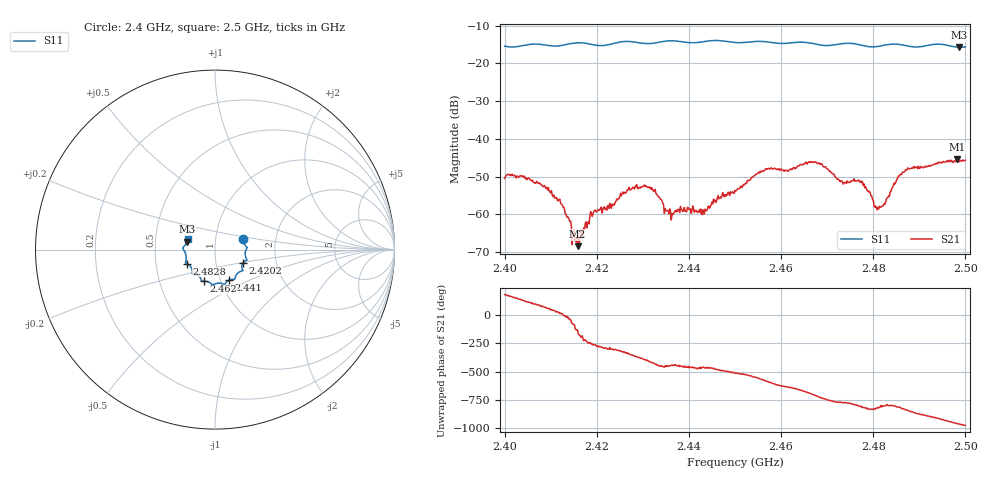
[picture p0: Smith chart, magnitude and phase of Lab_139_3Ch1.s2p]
# Hz S RI R 50
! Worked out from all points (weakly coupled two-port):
!   601 points, 2.4 GHz to 2.5 GHz, reference 50 ohm
!   highest |S21| = -45.43 dB at 2.4982 GHz (marker M1); lowest = -68.5 dB at 2.4158 GHz (marker M2)
!   lowest |S11| = -15.8 dB at 2.4987 GHz (marker M3), VSWR 1.39, Z = 36.3 + j3.25 ohm
!   |S11| at or under -10 dB: start of sweep to end of sweep
!   S12 and S22 are empty: the file has one direction only
!   S11 on the Smith chart (normalised r, x): 2.4 GHz: 1.36, +0.17; 2.4202 GHz: 1.36, -0.20; 2.441 GHz: 1.10, -0.39; 2.462 GHz: 0.83, -0.30; 2.4828 GHz: 0.72, -0.12; 2.5 GHz: 0.73, +0.09
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2.4e9  0.1571 0.0606  -0.00298 2.4e-05  0 0  0 0
2.409167e9  0.1736 0.000173  0.00119 0.00193  0 0  0 0
2.412333e9  0.1692 -0.0334  0.00133 0.000277  0 0  0 0
2.415833e9  0.1783 -0.0579  -0.000257 -0.000276  0 0  0 0
2.416667e9  0.1775 -0.0592  -0.00059 0.000184  0 0  0 0
2.420167e9  0.157 -0.0721  6.61e-05 0.00114  0 0  0 0
2.428167e9  0.1505 -0.1185  0.00216 8.49e-06  0 0  0 0
2.433333e9  0.1129 -0.1521  8.49e-05 -0.00172  0 0  0 0
2.436167e9  0.1097 -0.166  0.0001 -0.000833  0 0  0 0
2.441e9  0.0772 -0.1703  -0.000336 -0.00115  0 0  0 0
2.45e9  0.0272 -0.1868  -0.00184 -0.00097  0 0  0 0
2.456833e9  -0.0183 -0.192  -0.00286 0.00282  0 0  0 0
2.462e9  -0.0612 -0.176  0.0007 0.00389  0 0  0 0
2.466667e9  -0.0775 -0.1673  0.0046 0.00184  0 0  0 0
2.477167e9  -0.1259 -0.1224  0.000221 -0.00273  0 0  0 0
2.480667e9  -0.141 -0.0885  -0.000252 -0.00119  0 0  0 0
2.482833e9  -0.1579 -0.0777  0.000314 -0.00155  0 0  0 0
2.483333e9  -0.1606 -0.0764  0.000304 -0.00172  0 0  0 0
2.4875e9  -0.1608 -0.0544  -0.0022 -0.00348  0 0  0 0
2.498167e9  -0.1598 0.0373  -0.00288 0.00451  0 0  0 0
2.498667e9  -0.157 0.0436  -0.00236 0.00438  0 0  0 0
2.5e9  -0.153 0.0618  -0.00138 0.00501  0 0  0 0
